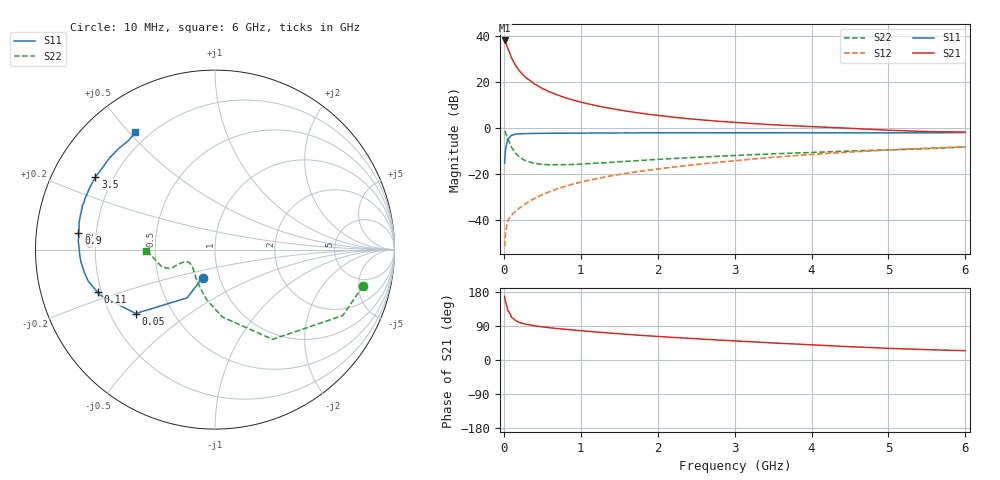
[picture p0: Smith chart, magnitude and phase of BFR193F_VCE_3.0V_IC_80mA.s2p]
! Infineon Technologies  Discrete & RF Semiconductors
! BFR193F
! VCE =  3.0 V,  IC =  80 mA
! Common Emitter S-Parameters:  Jan 2017
# GHz  S  MA  R  50
!  f  S11  S21  S12  S22
! GHz  MAG  ANG  MAG  ANG  MAG  ANG  MAG  ANG
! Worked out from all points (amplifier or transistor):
!   77 points, 10 MHz to 6 GHz, reference 50 ohm
!   highest |S21| = 37.9 dB at 10 MHz (marker M1)
!   |S21| within 3 dB of that: start of sweep to 45.97 MHz
!   unconditionally stable (mu >= 1): 474 MHz to 2.696 GHz
!   at 130 MHz: K = 0.66, MSG = 32.7 dB, |S12| = -37.0 dB
!   at 2.2 GHz: K = 1.03, MAG = 9.8 dB, |S12| = -17.0 dB
!   at 6 GHz: K = 0.88, MSG = 3.2 dB, |S12| = -8.3 dB
!   S11 on the Smith chart (normalised r, x): 10 MHz: 0.83, -0.27; 50 MHz: 0.31, -0.32; 110 MHz: 0.19, -0.17; 900 MHz: 0.13, +0.06; 3.5 GHz: 0.13, +0.28; 6 GHz: 0.15, +0.52
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0.01  0.171 -113.8  78.42 167.7  0.0027 80.5  0.8491 -13.8
0.02  0.3104 -120.0  73.22 155.6  0.0048 71.3  0.801 -27.3
0.05  0.5674 -141.1  53.46 131.1  0.0095 53.8  0.594 -57.3
0.1  0.6884 -158.4  32.66 112.5  0.0126 52.6  0.3778 -83.8
0.11  0.6952 -160.0  30.66 111.3  0.0131 53.4  0.3572 -86.2
0.15  0.7273 -165.9  22.85 104.3  0.0153 56.1  0.2835 -99.3
0.2  0.7385 -169.9  17.42 99.4  0.018 58.3  0.2351 -109.3
0.25  0.7458 -173.1  14.03 96.2  0.0204 62.5  0.2046 -118.1
0.3  0.7507 -174.9  11.78 93.9  0.0237 65.8  0.1891 -124.4
0.4  0.7546 -178.3  8.869 90.1  0.0292 68.5  0.1689 -133.9
0.5  0.757 179.6  7.125 87.4  0.0354 71.3  0.1607 -140.3
0.6  0.7599 177.9  5.962 85.0  0.0414 72.9  0.1575 -145.2
0.7  0.7637 176.1  5.12 82.9  0.0475 74.4  0.1573 -148.3
0.9  0.7661 173.2  3.998 79.1  0.0602 75.6  0.16 -153.1
1.1  0.7673 170.9  3.286 75.6  0.0725 76.0  0.1672 -155.2
1.6  0.7744 165.5  2.29 67.7  0.1032 76.0  0.1868 -158.4
2.1  0.7772 160.9  1.778 61.0  0.1343 75.2  0.2105 -158.4
3.1  0.7783 152.3  1.279 49.3  0.1993 72.5  0.2545 -157.2
3.5  0.7795 148.7  1.161 44.9  0.2288 71.0  0.2721 -157.6
4.1  0.7754 143.1  1.042 39.1  0.2707 67.6  0.2956 -160.1
5.1  0.7768 132.8  0.873 30.1  0.3356 61.0  0.3356 -169.7
6  0.789 124.2  0.806 24.5  0.3867 55.1  0.3838 -179.2
